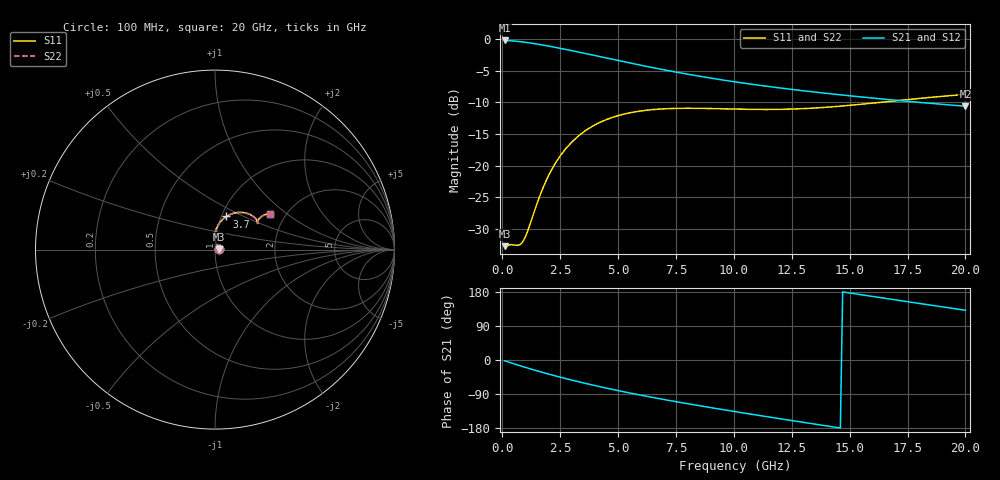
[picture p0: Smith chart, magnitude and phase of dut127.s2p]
! Touchstone file exported from HFSS 2024.1.0
!  File:  C:/UserFiles/LocalFiles/RDL_TSV_Batchsim/temp_RDL_TSV_127_1779426200.aedt
!  Generated:  01:22:39 PM May 22, 2026
!  Design:  RDL_TSV
!  Project:  temp_RDL_TSV_127_1779426200
!  Setup:  Setup1
!  Solution:  Sweep
! Variables:
!  dtsv = 10.32um
!  hbump = 3um
!  htsv = 78.77um
!  ldown = 484.74um
!  lrdl = 439.6um
!  p = 40
!  p1 = 53.13um
!  rhole = 10um
!  subl = 3212.62um
!  t = 450um
!  tdown = 2um
!  trdl = 2.56um
!  viad = 10um
!  wdown = 24.85um
!  wrdl = 19.46um
!  xbump = 18um
# GHz S MA R 50.000000
! Terminal data exported
! Port[1] = TM1_1_T1
! Port[2] = TM1_4_T1
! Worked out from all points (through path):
!   200 points, 100 MHz to 20 GHz, reference 50 ohm
!   highest |S21| = -0.21 dB at 100 MHz (marker M1); lowest = -10.6 dB at 20 GHz (marker M2)
!   group delay of S21, straight-line fit = 29.9 ps
!   lowest |S11| = -32.7 dB at 100 MHz (marker M3), VSWR 1.05, Z = 52.4 + j0.248 ohm
!   |S11| at or under -10 dB: start of sweep to 16.29 GHz
!   |S22| runs from -32.7 to -8.7 dB; largest |S21 - S12| = 3.5e-14
!   S11 on the Smith chart (normalised r, x): 100 MHz: 1.05, +0.00; 3.7 GHz: 1.06, +0.41; 20 GHz: 1.66, +0.77
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0.1  0.02316 5.9  0.9764 -2.1  0.9764 -2.1  0.02316 5.9
! Gamma 0 0 0 0
! Port Impedance 50 0 50 0
0.7  0.02358 39.8  0.9588 -13.9  0.9588 -13.9  0.02358 39.9
0.9  0.02535 56.7  0.9495 -17.7  0.9495 -17.7  0.02536 56.7
1.1  0.03057 72.1  0.9389 -21.4  0.9389 -21.4  0.03059 72.2
1.7  0.06297 90.2  0.9018 -32.1  0.9018 -32.1  0.06304 90.2
2.1  0.09082 89.6  0.8746 -38.8  0.8746 -38.8  0.09093 89.6
2.7  0.1335 83.6  0.8323 -48.4  0.8323 -48.4  0.1336 83.6
3.1  0.1601 78.5  0.804 -54.5  0.804 -54.5  0.1603 78.6
3.5  0.1842 73.4  0.7762 -60.4  0.7762 -60.4  0.1844 73.4
3.7  0.1952 70.9  0.7625 -63.3  0.7625 -63.3  0.1955 70.9
4.3  0.2237 63.8  0.7224 -71.6  0.7224 -71.6  0.224 63.8
5  0.2487 56.4  0.6784 -80.7  0.6784 -80.7  0.2491 56.4
5.9  0.2695 48.4  0.6267 -91.8  0.6267 -91.8  0.27 48.5
6.8  0.2804 42.2  0.581 -102.2  0.581 -102.2  0.2809 42.2
8.4  0.2844 35.0  0.5136 -119.5  0.5136 -119.5  0.2849 35.0
10.1  0.2802 31.8  0.4585 -136.7  0.4585 -136.7  0.2808 31.7
11.7  0.2785 31.8  0.418 -152.2  0.418 -152.2  0.2791 31.8
13.4  0.2851 33.4  0.3836 -168.3  0.3836 -168.3  0.2856 33.4
15  0.2999 35.0  0.3569 176.8  0.3569 176.8  0.3003 34.9
16.7  0.3219 35.5  0.3328 161.1  0.3328 161.1  0.3222 35.4
18.4  0.3456 34.7  0.3121 145.7  0.3121 145.7  0.3458 34.6
20  0.366 33.0  0.2952 131.3  0.2952 131.3  0.366 32.9
